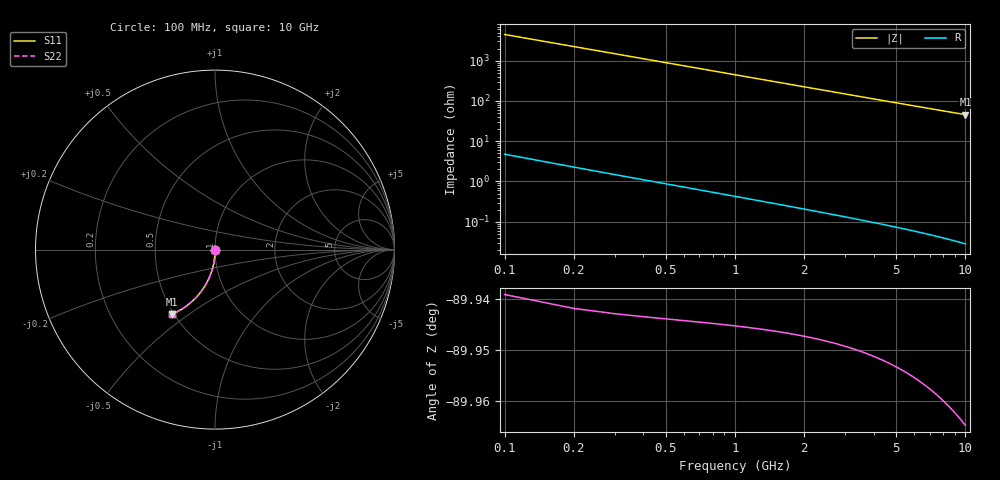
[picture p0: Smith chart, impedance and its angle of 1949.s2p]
# Hz S RI R 50.00
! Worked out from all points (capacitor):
!   100 points, 100 MHz to 10 GHz, reference 50 ohm
!   read as one part in shunt: C = 355 fF near 100 MHz
!   lowest |Z| = 45.8 ohm at 10 GHz (marker M1)
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1e8  0.000727 -0.00489  0.9992 -0.00627  0.9992 -0.00627  0.000727 -0.00489
2e8  0.000634 -0.00977  0.9991 -0.0125  0.9991 -0.0125  0.000634 -0.00977
3e8  0.00048 -0.0147  0.9989 -0.0188  0.9989 -0.0188  0.00048 -0.0147
4e8  0.000263 -0.0195  0.9987 -0.0251  0.9987 -0.0251  0.000263 -0.0195
5e8  -1.54e-05 -0.0244  0.9984 -0.0313  0.9984 -0.0313  -1.54e-05 -0.0244
6e8  -0.000355 -0.0293  0.998 -0.0376  0.998 -0.0376  -0.000355 -0.0293
7e8  -0.000756 -0.0341  0.9976 -0.0438  0.9976 -0.0438  -0.000756 -0.0341
8e8  -0.00122 -0.039  0.9972 -0.0501  0.9972 -0.0501  -0.00122 -0.039
9e8  -0.00174 -0.0439  0.9966 -0.0563  0.9966 -0.0563  -0.00174 -0.0439
1.1e9  -0.00297 -0.0535  0.9953 -0.0688  0.9953 -0.0688  -0.00297 -0.0535
1.4e9  -0.00526 -0.068  0.993 -0.0874  0.993 -0.0874  -0.00526 -0.068
1.8e9  -0.00914 -0.087  0.9889 -0.112  0.9889 -0.112  -0.00914 -0.087
2.1e9  -0.0127 -0.1011  0.9853 -0.1302  0.9853 -0.1302  -0.0127 -0.1011
2.5e9  -0.0182 -0.1196  0.9796 -0.1543  0.9796 -0.1543  -0.0182 -0.1196
2.9e9  -0.0245 -0.1377  0.973 -0.178  0.973 -0.178  -0.0245 -0.1377
3.4e9  -0.0337 -0.1598  0.9636 -0.207  0.9636 -0.207  -0.0337 -0.1598
4.2e9  -0.0509 -0.1935  0.9457 -0.2518  0.9457 -0.2518  -0.0509 -0.1935
5.1e9  -0.0737 -0.2287  0.9221 -0.2996  0.9221 -0.2996  -0.0737 -0.2287
5.9e9  -0.0966 -0.2572  0.8983 -0.3393  0.8983 -0.3393  -0.0966 -0.2572
6.7e9  -0.1215 -0.283  0.8724 -0.3763  0.8724 -0.3763  -0.1215 -0.283
8.4e9  -0.1796 -0.3282  0.8117 -0.4455  0.8117 -0.4455  -0.1796 -0.3282
1e10  -0.2378 -0.3587  0.7504 -0.4988  0.7504 -0.4988  -0.2378 -0.3587
